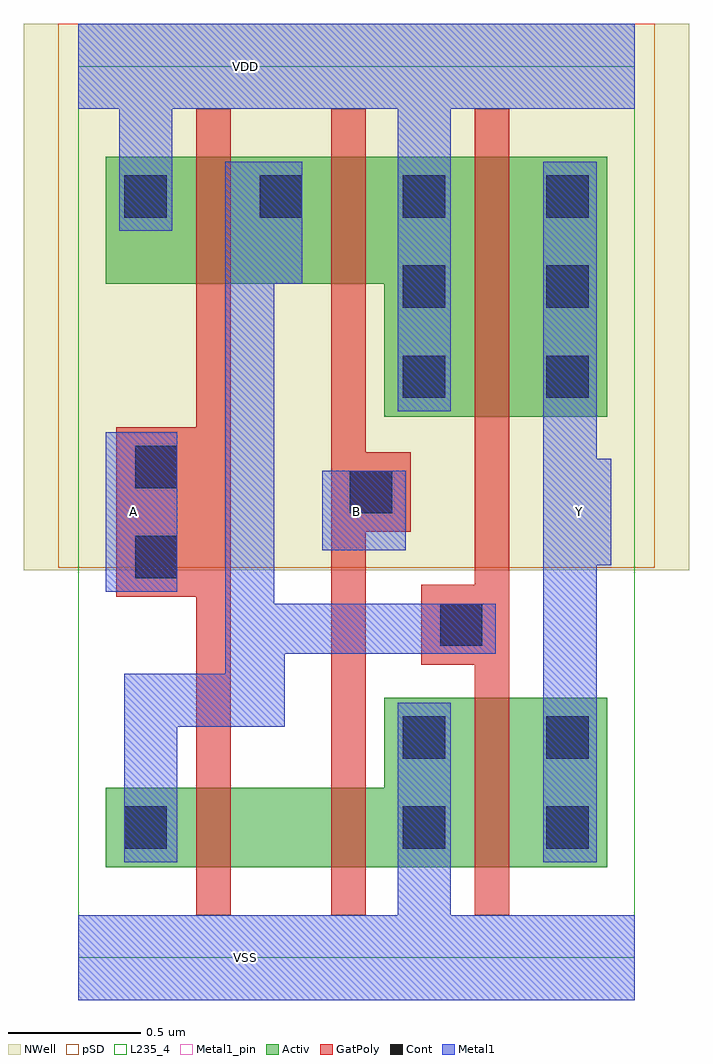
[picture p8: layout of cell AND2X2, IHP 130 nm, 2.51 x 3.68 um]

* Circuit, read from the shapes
.subckt AND2X2 A B VDD VSS Y
XM1 n1 A n2 VSUBS sg13_lv_nmos w=0.3u l=0.13u
XM2 VSS B n1 VSUBS sg13_lv_nmos w=0.3u l=0.13u
XM3 Y n2 VSS VSUBS sg13_lv_nmos w=0.64u l=0.13u
XM4 n2 A VDD n3 sg13_lv_pmos w=0.48u l=0.13u
XM5 VDD B n2 n3 sg13_lv_pmos w=0.48u l=0.13u
XM6 Y n2 VDD n3 sg13_lv_pmos w=0.98u l=0.13u
.ends

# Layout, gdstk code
import gdstk
lib = gdstk.Library(unit=1e-6, precision=1e-09)
def R(c, l, rs):  # rectangles x0, y0, x1, y1
    for r in rs: c.add(gdstk.rectangle(r[:2], r[2:], *l))
def A(c, l, x, y, w, h, nx, ny, dx, dy):  # array of equal rectangles
    R(c, l, [(x+i*dx, y+j*dy, x+i*dx+w, y+j*dy+h) for i in range(nx) for j in range(ny)])
def P(c, l, *ps):  # polygons
    for p in ps: c.add(gdstk.Polygon(p, *l))
Activ = (1, 0)
GatPoly = (5, 0)
Cont = (6, 0)
Metal1 = (8, 0)
Metal1_pin = (8, 2)
pSD = (14, 0)
NWell = (31, 0)
L235_4 = (235, 4)

and2x2 = lib.new_cell('AND2X2')
P(and2x2, Activ, [(1.995,0.98),(1.155,0.98),(1.155,0.64),(0.105,0.64),(0.105,0.34),(1.995,0.34)],
  [(1.995,3.02),(0.105,3.02),(0.105,2.54),(1.155,2.54),(1.155,2.04),(1.995,2.04)])
P(and2x2, GatPoly, [(1.255,1.905),(1.085,1.905),(1.085,3.2),(0.955,3.2),(0.955,0.16),(1.085,0.16),(1.085,1.605),(1.255,1.605)],
  [(0.575,3.2),(0.445,3.2),(0.445,2),(0.145,2),(0.145,1.36),(0.445,1.36),(0.445,0.16),(0.575,0.16)],
  [(1.625,3.2),(1.495,3.2),(1.495,1.405),(1.295,1.405),(1.295,1.105),(1.495,1.105),(1.495,0.16),(1.625,0.16)])
A(and2x2, Cont, 0.685, 2.79, 0.16, 0.16, 3, 1, 0.54, 0)
R(and2x2, Cont, [(0.175,0.41,0.335,0.57), (1.225,0.41,1.385,0.57), (1.765,0.41,1.925,0.57), (1.225,0.75,1.385,0.91), (1.765,0.75,1.925,0.91), (1.365,1.175,1.525,1.335), (0.215,1.43,0.375,1.59), (1.025,1.675,1.185,1.835), (0.215,1.77,0.375,1.93), (1.225,2.11,1.385,2.27), (1.765,2.11,1.925,2.27), (1.225,2.45,1.385,2.61), (1.765,2.45,1.925,2.61), (0.175,2.79,0.335,2.95)])
R(and2x2, Metal1, [(0.105,1.38,0.375,1.98), (0.92,1.535,1.235,1.835)])
P(and2x2, Metal1, [(2.01,1.88),(1.955,1.88),(1.955,3),(1.755,3),(1.755,0.36),(1.955,0.36),(1.955,1.48),(2.01,1.48)],
  [(2.1,0.16),(1.405,0.16),(1.405,0.96),(1.205,0.96),(1.205,0.16),(0,0.16),(0,-0.16),(2.1,-0.16)],
  [(2.1,3.52),(0,3.52),(0,3.2),(0.155,3.2),(0.155,2.74),(0.355,2.74),(0.355,3.2),(1.205,3.2),(1.205,2.06),(1.405,2.06),(1.405,3.2),(2.1,3.2)],
  [(1.575,1.335),(0.74,1.335),(0.74,2.54),(0.845,2.54),(0.845,3),(0.555,3),(0.555,1.07),(0.175,1.07),(0.175,0.36),(0.375,0.36),(0.375,0.87),(0.78,0.87),(0.78,1.145),(1.575,1.145)])
R(and2x2, Metal1_pin, [(0,-0.16,2.1,0.16), (1.755,0.36,1.955,3), (0.105,1.38,0.375,1.98), (0.92,1.535,1.235,1.835), (0,3.2,2.1,3.52)])
P(and2x2, Metal1_pin, [(2.01,1.88),(1.955,1.88),(1.955,3),(1.755,3),(1.755,0.36),(1.955,0.36),(1.955,1.48),(2.01,1.48)],
  [(2.1,0.16),(1.405,0.16),(1.405,0.96),(1.205,0.96),(1.205,0.16),(0,0.16),(0,-0.16),(2.1,-0.16)],
  [(2.1,3.52),(0,3.52),(0,3.2),(0.155,3.2),(0.155,2.74),(0.355,2.74),(0.355,3.2),(1.205,3.2),(1.205,2.06),(1.405,2.06),(1.405,3.2),(2.1,3.2)])
R(and2x2, pSD, [(-0.075,1.47,2.175,3.52)])
R(and2x2, NWell, [(-0.205,1.46,2.305,3.52)])
R(and2x2, L235_4, [(0,0,2.1,3.36)])
and2x2.add(gdstk.Label('Y', (1.89,1.68), layer=8, texttype=25))
and2x2.add(gdstk.Label('B', (1.05,1.68), layer=8, texttype=25))
and2x2.add(gdstk.Label('A', (0.21,1.68), layer=8, texttype=25))
and2x2.add(gdstk.Label('VDD', (0.63,3.36), layer=8, texttype=25))
and2x2.add(gdstk.Label('VSS', (0.63,0), layer=8, texttype=25))

lib.write_gds('AND2X2.gds')
